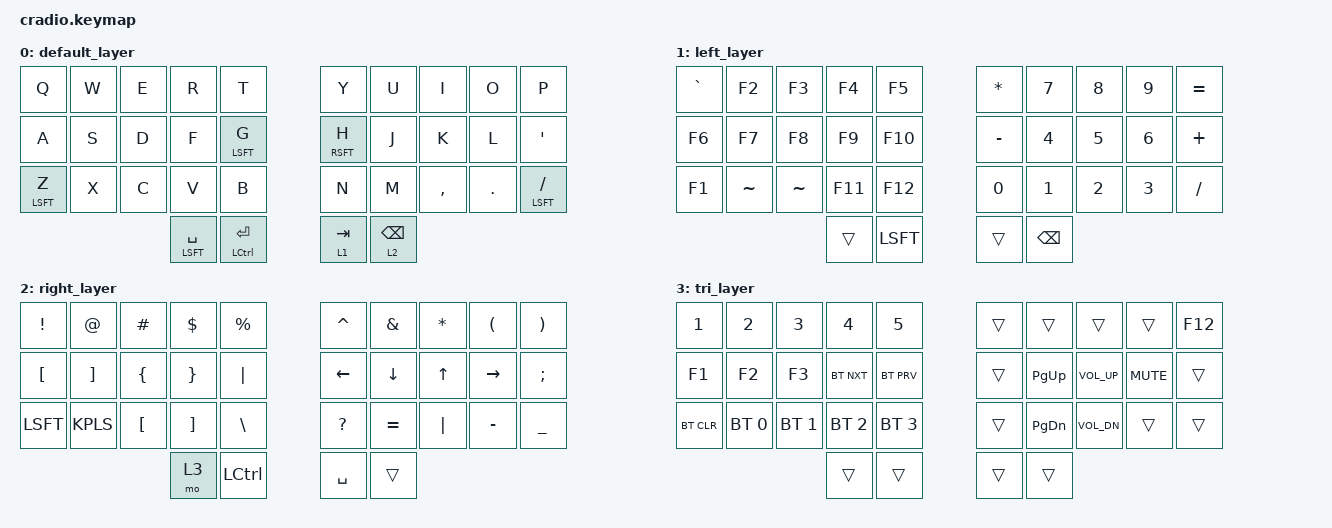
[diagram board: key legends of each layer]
/*
 * Copyright (c) 2020 The ZMK Contributors
 *
 * SPDX-License-Identifier: MIT
 */

#include <behaviors.dtsi>
#include <dt-bindings/zmk/keys.h>
#include <dt-bindings/zmk/bt.h>


&mt {
  //  flavor = "tap-preferred";
   // tapping_term_ms = <200>;
};

/ { 

    combos {
        compatible = "zmk,combos";
            combo_esc {
            timeout-ms = <50>;
            key-positions = <10 11>;
            bindings = <&kp ESC>;
        };
        
            combo_tab {
            timeout-ms = <50>;
            key-positions = <0 1>;
            bindings = <&kp TAB>;
        };
        
            combo_bspc {
            timeout-ms = <50>;
            key-positions = <8 9>;
            bindings = <&kp BSPC>;
        };
        
            combo_lalt {
            timeout-ms = <50>;
            key-positions = <11 12>;
            bindings = <&kp LALT>;
        };
        
            combo_lgui {
            timeout-ms = <50>;
            key-positions = <12 13>;
            bindings = <&kp LGUI>;
        };
        
        
            combo_ret {
            timeout-ms = <50>;
            key-positions = <18 19>;
            bindings = <&kp RET>;
        };
        
    	    combo_ralt {                                                                                                                          
            timeout-ms = <50>;                                                                                                                    
            key-positions = <17 16>;                                                                                                                
            bindings = <&kp RALT>;                                                                                                                
         };

	    combo_pg_up {
            timeout-ms = <50>;
            key-positions = <7 8>;
            bindings = <&kp PG_UP>;
        };
						combo_pg_dn {
						timeout-ms = <50>;
						key-positions = <17 18>;
						bindings = <&kp PG_DN>;
				 };

        
    };

        keymap {
                compatible = "zmk,keymap";
                
       		default_layer {
		bindings = <
		&kp Q &kp W &kp E &kp R &kp T 					  &kp Y &kp U  &kp I &kp O   &kp P 
		&kp A &kp S &kp D &kp F &mt LSFT G 			 	  &mt RSFT H &kp J  &kp K &kp L   &kp SQT
		&mt LSFT Z &kp X &kp C &kp V &kp B				  &kp N &kp M  &kp CMMA &kp DOT &mt LSFT FSLH
          			&mt LSFT SPC &mt LCTL RET  				  &lt 1 TAB &lt 2 BSPC
		>;
		};

       		left_layer {
		bindings = <
		&kp GRAVE &kp F2      &kp F3    &kp F4    &kp F5		    &kp ASTRK &kp NUM_7  &kp NUM_8 &kp NUM_9 &kp EQUAL
		&kp F6    &kp F7      &kp F8    &kp F9    &kp F10 		    &kp MINUS &kp NUM_4  &kp NUM_5 &kp NUM_6 &kp PLUS 
		&kp F1    &kp TILDE 	&kp TILDE &kp F11   &kp F12 	    	    &kp NUM_0 &kp NUM_1  &kp NUM_2 &kp NUM_3  &kp SLASH
					    &trans  &kp LSFT  					&trans  &kp BSPC
		>;
		};
		
		right_layer {
		bindings = <
		&kp EXCL  &kp AT &kp HASH  &kp DLLR  &kp PRCNT    			&kp CARET  &kp AMPS &kp ASTRK &kp LPAR &kp RPAR 
		&kp LBKT  &kp RBKT  &kp LBRC &kp RBRC &kp PIPE         			&kp LEFT &kp DOWN  &kp UP  &kp RIGHT   &kp SEMI
		&kp LSFT  &kp KPLS &kp LBKT &kp RBKT   &kp BSLH    			&kp QMARK &kp EQUAL &kp PIPE &kp MINUS  &kp UNDER
					  &mo 3 &kp LCTL  				&kp SPC  &trans 
		>;
		};	
		
		tri_layer {
		bindings = <
		&kp NUM_1  &kp NUM_2    &kp NUM_3    &kp NUM_4    &kp NUM_5 			&trans &trans   &trans   &trans  &kp F12
		&kp F1 &kp F2 &kp F3 &bt BT_NXT &bt BT_PRV					&trans &kp PG_UP  &kp K_VOL_UP &kp K_MUTE &trans 
		&bt BT_CLR  &bt BT_SEL 0 &bt BT_SEL 1 &bt BT_SEL 2 &bt BT_SEL 3	   		&trans &kp PG_DN  &kp K_VOL_DN  &trans &trans   
					 &trans &trans  					&trans &trans 
		>;
		};	
        
	};
};
